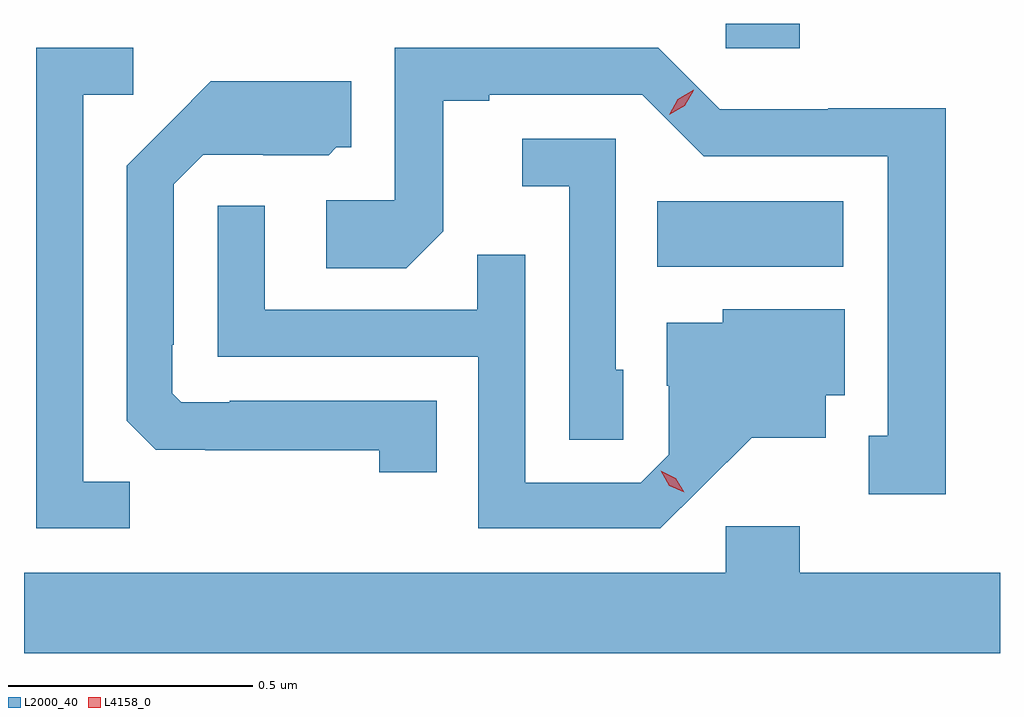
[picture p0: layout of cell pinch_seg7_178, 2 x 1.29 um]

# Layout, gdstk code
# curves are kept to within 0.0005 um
import gdstk
lib = gdstk.Library(unit=1e-6, precision=1e-09)
def R(c, l, rs):  # rectangles x0, y0, x1, y1
    for r in rs: c.add(gdstk.rectangle(r[:2], r[2:], *l))
def P(c, l, *ps):  # polygons
    for p in ps: c.add(gdstk.Polygon(p, *l))
L2000_40 = (2000, 40)
L4158_0 = (4158, 0)

pinch_seg7_178 = lib.new_cell('pinch_seg7_178')
R(pinch_seg7_178, L2000_40, [(1031.14,1000.076,1031.521,1000.21), (1031.28,1000.523,1031.432,1000.573)])
P(pinch_seg7_178, L2000_40, [(1030.059,999.635),(1029.963,999.635),(1029.963,1000.428),(1030.066,1000.428),(1030.066,1000.524),(1029.867,1000.524),(1029.867,999.54),(1030.059,999.54)],
  [(1031.731,1000.4),(1031.49,1000.4),(1031.49,1000.398),(1031.268,1000.398),(1031.142,1000.524),(1030.602,1000.524),(1030.602,1000.212),(1030.461,1000.212),(1030.461,1000.072),(1030.625,1000.072),(1030.701,1000.148),(1030.701,1000.416),(1030.795,1000.416),(1030.795,1000.428),(1031.109,1000.428),(1031.235,1000.302),(1031.612,1000.302),(1031.612,999.729),(1031.573,999.729),(1031.573,999.609),(1031.731,999.609)],
  [(1030.688,999.801),(1030.264,999.801),(1030.264,999.798),(1030.164,999.798),(1030.146,999.816),(1030.146,999.916),(1030.149,999.916),(1030.149,1000.245),(1030.209,1000.305),(1030.332,1000.305),(1030.332,1000.304),(1030.466,1000.304),(1030.482,1000.32),(1030.513,1000.32),(1030.513,1000.456),(1030.225,1000.456),(1030.053,1000.282),(1030.053,999.76),(1030.112,999.701),(1030.213,999.701),(1030.213,999.7),(1030.57,999.7),(1030.57,999.654),(1030.688,999.654)],
  [(1031.07,999.864),(1031.055,999.864),(1031.055,1000.338),(1030.863,1000.338),(1030.863,1000.241),(1030.959,1000.241),(1030.959,999.721),(1031.07,999.721)],
  [(1031.23,999.623),(1031.333,999.725),(1031.485,999.725),(1031.485,999.812),(1031.524,999.812),(1031.524,999.988),(1031.274,999.988),(1031.274,999.961),(1031.159,999.961),(1031.159,999.832),(1031.163,999.832),(1031.163,999.69),(1031.106,999.633),(1030.869,999.633),(1030.869,1000.1),(1030.771,1000.1),(1030.771,999.987),(1030.335,999.987),(1030.335,1000.201),(1030.239,1000.201),(1030.239,999.891),(1030.773,999.891),(1030.773,999.54),(1031.146,999.54)],
  [(1031.842,999.448),(1031.432,999.448),(1031.432,999.544),(1031.28,999.544),(1031.28,999.448),(1029.842,999.448),(1029.842,999.284),(1031.842,999.284)])
P(pinch_seg7_178, L4158_0, [(1031.164,1000.387),(1031.164,1000.387),(1031.182,1000.419),(1031.214,1000.438),(1031.214,1000.438),(1031.214,1000.437),(1031.196,1000.405),(1031.164,1000.387)],
  [(1031.195,999.613),(1031.164,999.627),(1031.147,999.657),(1031.147,999.657),(1031.147,999.657),(1031.178,999.642),(1031.195,999.613),(1031.195,999.613)])

lib.write_gds('pinch_seg7_178.gds')
